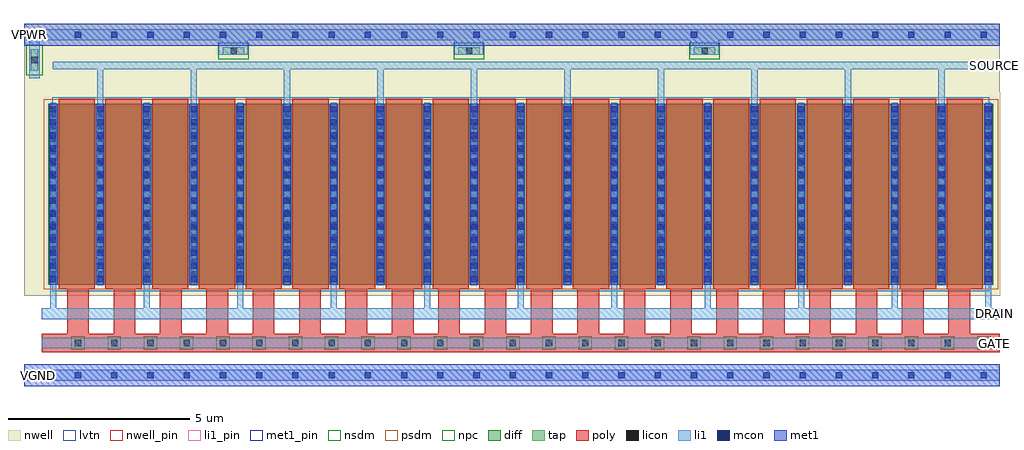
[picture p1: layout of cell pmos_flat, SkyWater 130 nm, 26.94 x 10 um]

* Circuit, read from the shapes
.subckt pmos_flat DRAIN GATE SOURCE VGND VPWR
XM1 SOURCE GATE DRAIN VPWR sky130_fd_pr__pfet_01v8_lvt w=5 l=1 m=20
.ends

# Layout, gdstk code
import gdstk
lib = gdstk.Library(unit=1e-6, precision=1e-09)
def R(c, l, rs):  # rectangles x0, y0, x1, y1
    for r in rs: c.add(gdstk.rectangle(r[:2], r[2:], *l))
def A(c, l, x, y, w, h, nx, ny, dx, dy):  # array of equal rectangles
    R(c, l, [(x+i*dx, y+j*dy, x+i*dx+w, y+j*dy+h) for i in range(nx) for j in range(ny)])
nwell_pin = (64, 16)
nwell = (64, 20)
diff = (65, 20)
tap = (65, 44)
poly = (66, 20)
licon = (66, 44)
li1_pin = (67, 16)
li1 = (67, 20)
mcon = (67, 44)
met1_pin = (68, 16)
met1 = (68, 20)
nsdm = (93, 44)
psdm = (94, 20)
npc = (95, 20)
lvtn = (125, 44)

pmos_flat = lib.new_cell('pmos_flat')
R(pmos_flat, nwell_pin, [(-13.71,4.25,-13.41,4.55)])
R(pmos_flat, nwell, [(-13.71,-2.81,13.225,2.81), (-13.71,2.81,13.22,4.7)])
R(pmos_flat, diff, [(-13.045,-2.5,13.045,2.5)])
A(pmos_flat, tap, -8.23, 3.85, 0.6, 0.2, 3, 1, 6.5, 0)
R(pmos_flat, tap, [(-13.52,3.4,-13.32,4)])
A(pmos_flat, poly, -12.52, -3.86, 0.6, 1.23, 20, 1, 1.28, 0)
A(pmos_flat, poly, -12.755, -2.63, 1, 5.26, 20, 1, 1.29, 0)
R(pmos_flat, poly, [(-13.22,-4.36,13.22,-3.86)])
A(pmos_flat, licon, -12.305, -4.195, 0.17, 0.17, 26, 1, 1, 0)
A(pmos_flat, licon, -12.985, -2.295, 0.17, 0.17, 21, 14, 1.29, 0.34)
A(pmos_flat, licon, -8.005, 3.865, 0.17, 0.17, 3, 1, 6.5, 0)
R(pmos_flat, licon, [(-13.505,3.615,-13.335,3.785)])
R(pmos_flat, li1_pin, [(12.92,-4.26,13.22,-3.96), (12.92,-3.45,13.22,-3.15), (12.92,3.45,13.22,3.65)])
A(pmos_flat, li1, -12.985, -3.15, 0.17, 5.67, 11, 1, 2.58, 0)
A(pmos_flat, li1, -11.695, -2.52, 0.17, 5.97, 10, 1, 2.58, 0)
A(pmos_flat, li1, -8.33, 3.85, 0.8, 0.4, 3, 1, 6.5, 0)
R(pmos_flat, li1, [(-13.71,-5.15,13.22,-4.85), (-13.22,-4.26,13.22,-3.96), (-13.22,-3.45,13.22,-3.15), (-13.57,3.2,-13.27,4.25), (-12.92,3.45,13.22,3.65), (-13.71,4.25,13.22,4.55)])
A(pmos_flat, mcon, -12.305, -5.085, 0.17, 0.17, 26, 2, 1, 9.4)
A(pmos_flat, mcon, -12.985, -2.425, 0.17, 0.17, 21, 14, 1.29, 0.36)
R(pmos_flat, met1_pin, [(-13.71,-5.15,-12.92,-4.85)])
A(pmos_flat, met1, -13.015, -2.5, 0.23, 5, 21, 1, 1.29, 0)
R(pmos_flat, met1, [(-13.71,-5.3,13.22,-4.7), (-13.71,4.1,13.22,4.7)])
A(pmos_flat, nsdm, -8.355, 3.725, 0.85, 0.45, 3, 1, 6.5, 0)
R(pmos_flat, nsdm, [(-13.645,3.275,-13.195,4.125)])
R(pmos_flat, psdm, [(-13.17,-2.625,13.17,2.625)])
A(pmos_flat, npc, -12.405, -4.295, 0.37, 0.37, 26, 1, 1, 0)
R(pmos_flat, lvtn, [(-12.935,-2.68,12.935,2.68)])
pmos_flat.add(gdstk.Label('VPWR', (-13.56,4.4), layer=64, texttype=16))
pmos_flat.add(gdstk.Label('VGND', (-13.315,-5), layer=68, texttype=16))
pmos_flat.add(gdstk.Label('SOURCE', (13.07,3.55), layer=67, texttype=16))
pmos_flat.add(gdstk.Label('DRAIN', (13.07,-3.3), layer=67, texttype=16))
pmos_flat.add(gdstk.Label('GATE', (13.07,-4.11), layer=67, texttype=16))

lib.write_gds('pmos_flat.gds')
